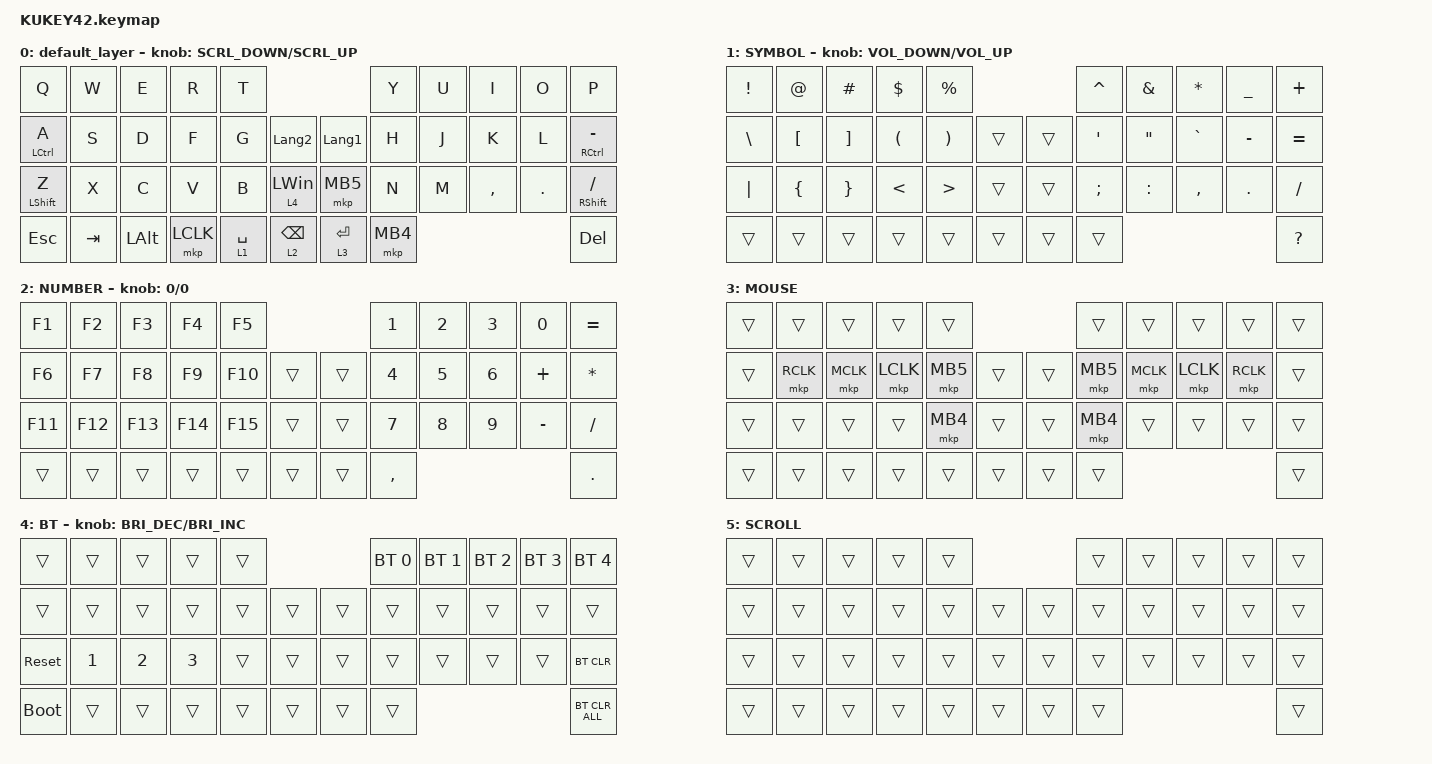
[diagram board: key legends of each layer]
#define ZMK_POINTING_DEFAULT_SCRL_VAL 80

#include <input/processors.dtsi>
#include <behaviors.dtsi>
#include <dt-bindings/zmk/bt.h>
#include <dt-bindings/zmk/keys.h>
#include <dt-bindings/zmk/pointing.h>

#define MOUSE 3
#define SCROLL 5
#define NUMBER 2

&mt {
    flavor = "balanced";
    quick-tap-ms = <0>;
};

&mkp_input_listener { input-processors = <&zip_temp_layer 3 10000>; };

/ {
    combos {
        compatible = "zmk,combos";

        TR_SCROLL {
            bindings = <&mo 5>;
            key-positions = <19 20>;
        };
    };

    macros {
        to_layer_0: to_layer_0 {
            compatible = "zmk,behavior-macro-one-param";
            #binding-cells = <1>;
            bindings = <&to 0 &macro_param_1to1 &kp MACRO_PLACEHOLDER>;
            label = "TO_LAYER_0";
        };

        exit_AML: exit_AML {
            compatible = "zmk,behavior-macro";
            wait-ms = <0>;
            tap-ms = <0>;
            #binding-cells = <0>;
            bindings = <&tog_off MOUSE>;
            label = "exit_AML";
        };

        kp_exit_AML: kp_exit_AML {
            compatible = "zmk,behavior-macro-one-param";
            wait-ms = <0>;
            tap-ms = <0>;
            #binding-cells = <1>;
            bindings = <&macro_param_1to1 &kp MACRO_PLACEHOLDER &exit_AML>;
            label = "KP_exit_AML";
        };
    };

    behaviors {
        lt_to_layer_0: lt_to_layer_0 {
            compatible = "zmk,behavior-hold-tap";
            label = "LAYER_TAP_TO_0";
            bindings = <&mo>, <&to_layer_0>;

            #binding-cells = <2>;
            tapping-term-ms = <200>;
        };

        tapdance_kana: tapdance_kana {
            compatible = "zmk,behavior-tap-dance";
            label = "TAPDANCE_KANA";
            #binding-cells = <0>;
            bindings = <&kp INT2>, <&kp LANGUAGE_2>, <&sl 1>;

            tapping-term-ms = <400>;
        };

        WheelScroll: WheelScroll {
            compatible = "zmk,behavior-sensor-rotate-var";
            label = "WHEELSCROLL";
            #sensor-binding-cells = <2>;
            bindings = <&msc>, <&msc>;

            tap-ms = <20>;
        };

        tog_off: toggle_layer_off {
            compatible = "zmk,behavior-toggle-layer";
            #binding-cells = <1>;
            display-name = "Toggle Layer Off";
            toggle-mode = "off";
        };

        mt_exit_AML_on_tap: mt_exit_AML_on_tap {
            compatible = "zmk,behavior-hold-tap";
            label = "MT_exit_AML_ON_TAP";
            bindings = <&kp>, <&kp_exit_AML>;

            #binding-cells = <2>;
            tapping-term-ms = <200>;
            flavor = "balanced";
            quick-tap-ms = <200>;
        };
    };

    keymap {
        compatible = "zmk,keymap";

        default_layer {
            bindings = <
&kp Q             &kp W    &kp E         &kp R      &kp T                                             &kp Y     &kp U  &kp I      &kp O       &kp P
&mt LCTRL A       &kp S    &kp D         &kp F      &kp G        &kp LANGUAGE_2       &kp LANGUAGE_1  &kp H     &kp J  &kp K      &kp L       &mt RCTRL MINUS
&mt LEFT_SHIFT Z  &kp X    &kp C         &kp V      &kp B        &lt 4 LEFT_WIN       &mkp MB5        &kp N     &kp M  &kp COMMA  &kp PERIOD  &mt RIGHT_SHIFT SLASH
&kp ESCAPE        &kp TAB  &kp LEFT_ALT  &mkp LCLK  &lt 1 SPACE  &lt 2 BACKSPACE      &lt 3 ENTER     &mkp MB4                                &kp DELETE
            >;

            sensor-bindings = <&WheelScroll SCRL_DOWN SCRL_UP>;
        };

        SYMBOL {
            bindings = <
&kp EXCLAMATION  &kp AT_SIGN       &kp HASH           &kp DOLLAR            &kp PERCENT                                &kp CARET      &kp AMPERSAND      &kp ASTERISK  &kp UNDERSCORE  &kp PLUS
&kp BACKSLASH    &kp LEFT_BRACKET  &kp RIGHT_BRACKET  &kp LEFT_PARENTHESIS  &kp RIGHT_PARENTHESIS  &trans      &trans  &kp SQT        &kp DOUBLE_QUOTES  &kp GRAVE     &kp MINUS       &kp EQUAL
&kp PIPE         &kp LEFT_BRACE    &kp RIGHT_BRACE    &kp LESS_THAN         &kp GREATER_THAN       &trans      &trans  &kp SEMICOLON  &kp COLON          &kp COMMA     &kp PERIOD      &kp SLASH
&trans           &trans            &trans             &trans                &trans                 &trans      &trans  &trans                                                          &kp QUESTION
            >;

            sensor-bindings = <&inc_dec_kp C_VOLUME_DOWN C_VOLUME_UP>;
        };

        NUMBER {
            bindings = <
&kp F1   &kp F2   &kp F3   &kp F4   &kp F5                       &kp NUMBER_1  &kp NUMBER_2  &kp NUMBER_3  &kp NUMBER_0  &kp EQUAL
&kp F6   &kp F7   &kp F8   &kp F9   &kp F10  &trans      &trans  &kp NUMBER_4  &kp NUMBER_5  &kp NUMBER_6  &kp PLUS      &kp ASTERISK
&kp F11  &kp F12  &kp F13  &kp F14  &kp F15  &trans      &trans  &kp NUMBER_7  &kp NUMBER_8  &kp NUMBER_9  &kp MINUS     &kp SLASH
&trans   &trans   &trans   &trans   &trans   &trans      &trans  &kp COMMA                                               &kp PERIOD
            >;

            sensor-bindings = <&inc_dec_kp 0 0>;
        };

        MOUSE {
            bindings = <
&trans  &trans     &trans     &trans     &trans                        &trans    &trans     &trans     &trans     &trans
&trans  &mkp RCLK  &mkp MCLK  &mkp LCLK  &mkp MB5  &trans      &trans  &mkp MB5  &mkp MCLK  &mkp LCLK  &mkp RCLK  &trans
&trans  &trans     &trans     &trans     &mkp MB4  &trans      &trans  &mkp MB4  &trans     &trans     &trans     &trans
&trans  &trans     &trans     &trans     &trans    &trans      &trans  &trans                                     &trans
            >;
        };

        BT {
            bindings = <
&trans       &trans        &trans        &trans        &trans                      &bt BT_SEL 0  &bt BT_SEL 1  &bt BT_SEL 2  &bt BT_SEL 3  &bt BT_SEL 4
&trans       &trans        &trans        &trans        &trans  &trans      &trans  &trans        &trans        &trans        &trans        &trans
&sys_reset   &kp NUMBER_1  &kp NUMBER_2  &kp NUMBER_3  &trans  &trans      &trans  &trans        &trans        &trans        &trans        &bt BT_CLR
&bootloader  &trans        &trans        &trans        &trans  &trans      &trans  &trans                                                  &bt BT_CLR_ALL
            >;

            sensor-bindings = <&inc_dec_kp C_BRIGHTNESS_DEC C_BRIGHTNESS_INC>;
        };

        scroll_layer {
            bindings = <
&trans  &trans  &trans  &trans  &trans                      &trans  &trans  &trans  &trans  &trans
&trans  &trans  &trans  &trans  &trans  &trans      &trans  &trans  &trans  &trans  &trans  &trans
&trans  &trans  &trans  &trans  &trans  &trans      &trans  &trans  &trans  &trans  &trans  &trans
&trans  &trans  &trans  &trans  &trans  &trans      &trans  &trans                          &trans
            >;

            label = "SCROLL";
        };
    };
};
